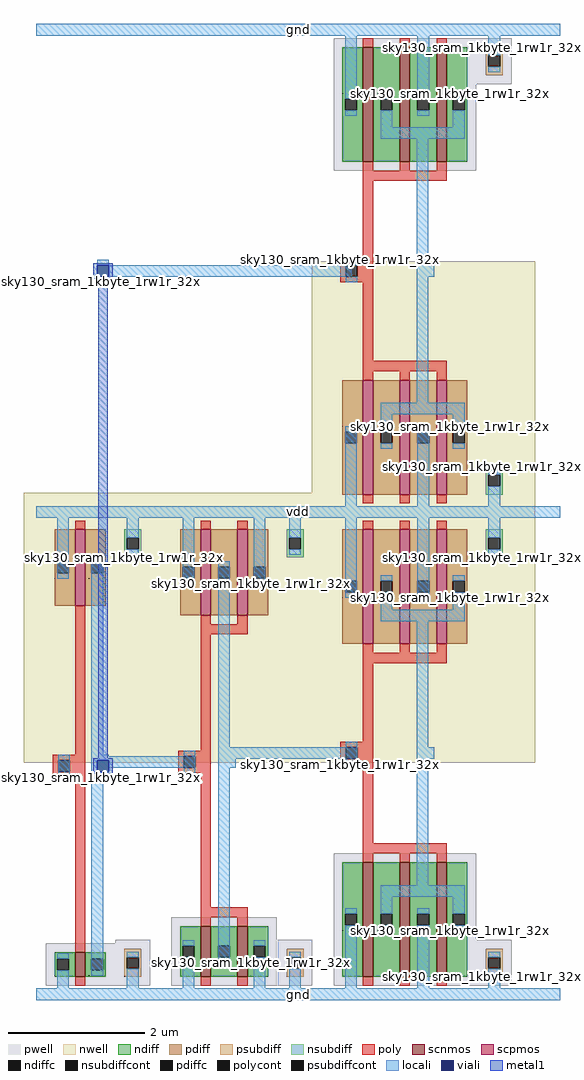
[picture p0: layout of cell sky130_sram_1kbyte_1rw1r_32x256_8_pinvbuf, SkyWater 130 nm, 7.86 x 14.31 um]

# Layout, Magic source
magic
tech sky130A
magscale 1 2
<< locali >>
rect 0 2828 1536 2862
rect 179 2155 213 2171
rect 213 2121 925 2155
rect 1133 2121 1167 2155
rect 179 2105 213 2121
rect 0 1414 1536 1448
rect 179 715 213 719
rect 179 703 466 715
rect 64 669 98 703
rect 213 681 466 703
rect 551 707 942 741
rect 1133 707 1167 741
rect 551 698 585 707
rect 179 653 213 669
rect 0 0 1536 34
<< viali >>
rect 179 2121 213 2155
rect 179 669 213 703
<< metal1 >>
rect 167 2155 225 2161
rect 167 2121 179 2155
rect 213 2121 225 2155
rect 167 2115 225 2121
rect 182 709 210 2115
rect 167 703 225 709
rect 167 669 179 703
rect 213 669 225 703
rect 167 663 225 669
use sky130_sram_1kbyte_1rw1r_32x256_8_contact_14  sky130_sram_1kbyte_1rw1r_32x256_8_contact_14_0
transform 1 0 167 0 1 653
box 0 0 1 1
use sky130_sram_1kbyte_1rw1r_32x256_8_contact_14  sky130_sram_1kbyte_1rw1r_32x256_8_contact_14_1
transform 1 0 167 0 1 2105
box 0 0 1 1
use sky130_sram_1kbyte_1rw1r_32x256_8_pinv_2  sky130_sram_1kbyte_1rw1r_32x256_8_pinv_2_0
transform 1 0 844 0 -1 2845
box -36 -17 620 1471
use sky130_sram_1kbyte_1rw1r_32x256_8_pinv_2  sky130_sram_1kbyte_1rw1r_32x256_8_pinv_2_1
transform 1 0 844 0 1 17
box -36 -17 620 1471
use sky130_sram_1kbyte_1rw1r_32x256_8_pinv_1  sky130_sram_1kbyte_1rw1r_32x256_8_pinv_1_0
transform 1 0 368 0 1 17
box -36 -17 512 1471
use sky130_sram_1kbyte_1rw1r_32x256_8_pinv_0  sky130_sram_1kbyte_1rw1r_32x256_8_pinv_0_0
transform 1 0 0 0 1 17
box -36 -17 404 1471
<< labels >>
rlabel locali s 768 1431 768 1431 4 vdd
port 1 nsew
rlabel locali s 768 17 768 17 4 gnd
port 2 nsew
rlabel locali s 768 2845 768 2845 4 gnd
port 2 nsew
rlabel locali s 1150 2138 1150 2138 4 Z
port 3 nsew
rlabel locali s 1150 724 1150 724 4 Zb
port 4 nsew
rlabel locali s 81 686 81 686 4 A
port 5 nsew
<< properties >>
string FIXED_BBOX 0 0 1536 2845
string GDS_FILE $PDKPATH/libs.ref/sky130_sram_macros/gds/sky130_sram_1kbyte_1rw1r_32x256_8.gds
string GDS_END 6281032
string GDS_START 6279050
<< end >>

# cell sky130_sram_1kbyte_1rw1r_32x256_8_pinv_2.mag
magic
tech sky130A
magscale 1 2
<< nwell >>
rect -36 679 620 1471
<< pwell >>
rect 448 25 550 159
<< psubdiff >>
rect 474 109 524 133
rect 474 75 482 109
rect 516 75 524 109
rect 474 51 524 75
<< nsubdiff >>
rect 474 1339 524 1363
rect 474 1305 482 1339
rect 516 1305 524 1339
rect 474 1281 524 1305
<< psubdiffcont >>
rect 482 75 516 109
<< nsubdiffcont >>
rect 482 1305 516 1339
<< poly >>
rect 114 740 144 971
rect 48 724 144 740
rect 48 690 64 724
rect 98 690 144 724
rect 48 674 144 690
rect 114 443 144 674
<< polycont >>
rect 64 690 98 724
<< locali >>
rect 0 1397 584 1431
rect 62 1162 96 1397
rect 274 1162 308 1397
rect 482 1339 516 1397
rect 482 1289 516 1305
rect 64 724 98 740
rect 64 674 98 690
rect 272 724 306 1128
rect 272 690 323 724
rect 272 286 306 690
rect 62 17 96 186
rect 274 17 308 186
rect 482 109 516 125
rect 482 17 516 75
rect 0 -17 584 17
use sky130_sram_1kbyte_1rw1r_32x256_8_contact_16  sky130_sram_1kbyte_1rw1r_32x256_8_contact_16_0
transform 1 0 48 0 1 674
box 0 0 1 1
use sky130_sram_1kbyte_1rw1r_32x256_8_contact_29  sky130_sram_1kbyte_1rw1r_32x256_8_contact_29_0
transform 1 0 474 0 1 51
box 0 0 1 1
use sky130_sram_1kbyte_1rw1r_32x256_8_contact_28  sky130_sram_1kbyte_1rw1r_32x256_8_contact_28_0
transform 1 0 474 0 1 1281
box 0 0 1 1
use sky130_sram_1kbyte_1rw1r_32x256_8_nmos_m3_w1_680_sli_dli_da_p  sky130_sram_1kbyte_1rw1r_32x256_8_nmos_m3_w1_680_sli_dli_da_p_0
transform 1 0 54 0 1 51
box -26 -26 392 392
use sky130_sram_1kbyte_1rw1r_32x256_8_pmos_m3_w1_680_sli_dli_da_p  sky130_sram_1kbyte_1rw1r_32x256_8_pmos_m3_w1_680_sli_dli_da_p_0
transform 1 0 54 0 1 1027
box -59 -56 425 390
<< labels >>
rlabel locali s 81 707 81 707 4 A
port 1 nsew
rlabel locali s 306 707 306 707 4 Z
port 2 nsew
rlabel locali s 292 0 292 0 4 gnd
port 3 nsew
rlabel locali s 292 1414 292 1414 4 vdd
port 4 nsew
<< properties >>
string FIXED_BBOX 0 0 584 1414
string GDS_FILE $PDKPATH/libs.ref/sky130_sram_macros/gds/sky130_sram_1kbyte_1rw1r_32x256_8.gds
string GDS_END 182216
string GDS_START 180218
<< end >>

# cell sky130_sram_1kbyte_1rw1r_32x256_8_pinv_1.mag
magic
tech sky130A
magscale 1 2
<< nwell >>
rect -36 679 512 1471
<< pwell >>
rect 340 25 442 159
<< psubdiff >>
rect 366 109 416 133
rect 366 75 374 109
rect 408 75 416 109
rect 366 51 416 75
<< nsubdiff >>
rect 366 1339 416 1363
rect 366 1305 374 1339
rect 408 1305 416 1339
rect 366 1281 416 1305
<< psubdiffcont >>
rect 374 75 408 109
<< nsubdiffcont >>
rect 374 1305 408 1339
<< poly >>
rect 114 714 144 1055
rect 48 698 144 714
rect 48 664 64 698
rect 98 664 144 698
rect 48 648 144 664
rect 114 255 144 648
<< polycont >>
rect 64 664 98 698
<< locali >>
rect 0 1397 476 1431
rect 62 1204 96 1397
rect 64 698 98 714
rect 64 648 98 664
rect 166 698 200 1270
rect 270 1204 304 1397
rect 374 1339 408 1397
rect 374 1289 408 1305
rect 166 664 217 698
rect 166 92 200 664
rect 374 109 408 125
rect 62 17 96 92
rect 270 17 304 92
rect 374 17 408 75
rect 0 -17 476 17
use sky130_sram_1kbyte_1rw1r_32x256_8_contact_16  sky130_sram_1kbyte_1rw1r_32x256_8_contact_16_0
transform 1 0 48 0 1 648
box 0 0 1 1
use sky130_sram_1kbyte_1rw1r_32x256_8_contact_29  sky130_sram_1kbyte_1rw1r_32x256_8_contact_29_0
transform 1 0 366 0 1 51
box 0 0 1 1
use sky130_sram_1kbyte_1rw1r_32x256_8_contact_28  sky130_sram_1kbyte_1rw1r_32x256_8_contact_28_0
transform 1 0 366 0 1 1281
box 0 0 1 1
use sky130_sram_1kbyte_1rw1r_32x256_8_nmos_m2_w0_740_sli_dli_da_p  sky130_sram_1kbyte_1rw1r_32x256_8_nmos_m2_w0_740_sli_dli_da_p_0
transform 1 0 54 0 1 51
box -26 -26 284 204
use sky130_sram_1kbyte_1rw1r_32x256_8_pmos_m2_w1_260_sli_dli_da_p  sky130_sram_1kbyte_1rw1r_32x256_8_pmos_m2_w1_260_sli_dli_da_p_0
transform 1 0 54 0 1 1111
box -59 -56 317 306
<< labels >>
rlabel locali s 81 681 81 681 4 A
port 1 nsew
rlabel locali s 200 681 200 681 4 Z
port 2 nsew
rlabel locali s 238 0 238 0 4 gnd
port 3 nsew
rlabel locali s 238 1414 238 1414 4 vdd
port 4 nsew
<< properties >>
string FIXED_BBOX 0 0 476 1414
string GDS_FILE $PDKPATH/libs.ref/sky130_sram_macros/gds/sky130_sram_1kbyte_1rw1r_32x256_8.gds
string GDS_END 184286
string GDS_START 182288
<< end >>

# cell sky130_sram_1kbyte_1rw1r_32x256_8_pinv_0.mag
magic
tech sky130A
magscale 1 2
<< nwell >>
rect -36 679 404 1471
<< pwell >>
rect 232 25 334 159
<< psubdiff >>
rect 258 109 308 133
rect 258 75 266 109
rect 300 75 308 109
rect 258 51 308 75
<< nsubdiff >>
rect 258 1339 308 1363
rect 258 1305 266 1339
rect 300 1305 308 1339
rect 258 1281 308 1305
<< psubdiffcont >>
rect 266 75 300 109
<< nsubdiffcont >>
rect 266 1305 300 1339
<< poly >>
rect 114 702 144 1113
rect 48 686 144 702
rect 48 652 64 686
rect 98 652 144 686
rect 48 636 144 652
rect 114 149 144 636
<< polycont >>
rect 64 652 98 686
<< locali >>
rect 0 1397 368 1431
rect 62 1218 96 1397
rect 266 1339 300 1397
rect 266 1289 300 1305
rect 64 686 98 702
rect 64 636 98 652
rect 162 686 196 1284
rect 162 652 213 686
rect 162 54 196 652
rect 266 109 300 125
rect 62 17 96 54
rect 266 17 300 75
rect 0 -17 368 17
use sky130_sram_1kbyte_1rw1r_32x256_8_contact_16  sky130_sram_1kbyte_1rw1r_32x256_8_contact_16_0
transform 1 0 48 0 1 636
box 0 0 1 1
use sky130_sram_1kbyte_1rw1r_32x256_8_contact_29  sky130_sram_1kbyte_1rw1r_32x256_8_contact_29_0
transform 1 0 258 0 1 51
box 0 0 1 1
use sky130_sram_1kbyte_1rw1r_32x256_8_contact_28  sky130_sram_1kbyte_1rw1r_32x256_8_contact_28_0
transform 1 0 258 0 1 1281
box 0 0 1 1
use sky130_sram_1kbyte_1rw1r_32x256_8_nmos_m1_w0_360_sli_dli_da_p  sky130_sram_1kbyte_1rw1r_32x256_8_nmos_m1_w0_360_sli_dli_da_p_0
transform 1 0 54 0 1 51
box -26 -26 176 98
use sky130_sram_1kbyte_1rw1r_32x256_8_pmos_m1_w1_120_sli_dli_da_p  sky130_sram_1kbyte_1rw1r_32x256_8_pmos_m1_w1_120_sli_dli_da_p_0
transform 1 0 54 0 1 1139
box -59 -54 209 278
<< labels >>
rlabel locali s 81 669 81 669 4 A
port 1 nsew
rlabel locali s 196 669 196 669 4 Z
port 2 nsew
rlabel locali s 184 0 184 0 4 gnd
port 3 nsew
rlabel locali s 184 1414 184 1414 4 vdd
port 4 nsew
<< properties >>
string FIXED_BBOX 0 0 368 1414
string GDS_FILE $PDKPATH/libs.ref/sky130_sram_macros/gds/sky130_sram_1kbyte_1rw1r_32x256_8.gds
string GDS_END 393578
string GDS_START 391708
<< end >>

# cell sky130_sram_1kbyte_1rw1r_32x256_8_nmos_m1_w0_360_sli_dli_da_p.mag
magic
tech sky130A
magscale 1 2
<< pwell >>
rect -26 -26 176 98
<< scnmos >>
rect 60 0 90 72
<< ndiff >>
rect 0 53 60 72
rect 0 19 8 53
rect 42 19 60 53
rect 0 0 60 19
rect 90 53 150 72
rect 90 19 108 53
rect 142 19 150 53
rect 90 0 150 19
<< ndiffc >>
rect 8 19 42 53
rect 108 19 142 53
<< poly >>
rect 60 72 90 98
rect 60 -26 90 0
<< locali >>
rect 8 53 42 69
rect 8 3 42 19
rect 108 53 142 69
rect 108 3 142 19
use sky130_sram_1kbyte_1rw1r_32x256_8_contact_11  sky130_sram_1kbyte_1rw1r_32x256_8_contact_11_0
transform 1 0 100 0 1 3
box 0 0 1 1
use sky130_sram_1kbyte_1rw1r_32x256_8_contact_11  sky130_sram_1kbyte_1rw1r_32x256_8_contact_11_1
transform 1 0 0 0 1 3
box 0 0 1 1
<< labels >>
rlabel locali s 25 36 25 36 4 S
port 1 nsew
rlabel locali s 125 36 125 36 4 D
port 2 nsew
rlabel poly s 75 36 75 36 4 G
port 3 nsew
<< properties >>
string FIXED_BBOX -25 -26 175 98
string GDS_FILE $PDKPATH/libs.ref/sky130_sram_macros/gds/sky130_sram_1kbyte_1rw1r_32x256_8.gds
string GDS_END 1950
string GDS_START 1154
<< end >>

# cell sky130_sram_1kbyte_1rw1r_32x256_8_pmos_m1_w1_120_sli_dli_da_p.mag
magic
tech sky130A
magscale 1 2
<< nwell >>
rect -54 196 204 278
rect -59 28 209 196
rect -54 -54 204 28
<< scpmos >>
rect 60 0 90 224
<< pdiff >>
rect 0 129 60 224
rect 0 95 8 129
rect 42 95 60 129
rect 0 0 60 95
rect 90 129 150 224
rect 90 95 108 129
rect 142 95 150 129
rect 90 0 150 95
<< pdiffc >>
rect 8 95 42 129
rect 108 95 142 129
<< poly >>
rect 60 224 90 250
rect 60 -26 90 0
<< locali >>
rect 8 129 42 145
rect 8 79 42 95
rect 108 129 142 145
rect 108 79 142 95
use sky130_sram_1kbyte_1rw1r_32x256_8_contact_12  sky130_sram_1kbyte_1rw1r_32x256_8_contact_12_0
transform 1 0 100 0 1 79
box 0 0 1 1
use sky130_sram_1kbyte_1rw1r_32x256_8_contact_12  sky130_sram_1kbyte_1rw1r_32x256_8_contact_12_1
transform 1 0 0 0 1 79
box 0 0 1 1
<< labels >>
rlabel locali s 25 112 25 112 4 S
port 1 nsew
rlabel locali s 125 112 125 112 4 D
port 2 nsew
rlabel poly s 75 112 75 112 4 G
port 3 nsew
<< properties >>
string FIXED_BBOX -54 -54 204 28
string GDS_FILE $PDKPATH/libs.ref/sky130_sram_macros/gds/sky130_sram_1kbyte_1rw1r_32x256_8.gds
string GDS_END 2904
string GDS_START 2044
<< end >>

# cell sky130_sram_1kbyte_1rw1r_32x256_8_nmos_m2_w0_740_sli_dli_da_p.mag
magic
tech sky130A
magscale 1 2
<< pwell >>
rect -26 -26 284 174
<< scnmos >>
rect 60 0 90 148
rect 168 0 198 148
<< ndiff >>
rect 0 91 60 148
rect 0 57 8 91
rect 42 57 60 91
rect 0 0 60 57
rect 90 91 168 148
rect 90 57 112 91
rect 146 57 168 91
rect 90 0 168 57
rect 198 91 258 148
rect 198 57 216 91
rect 250 57 258 91
rect 198 0 258 57
<< ndiffc >>
rect 8 57 42 91
rect 112 57 146 91
rect 216 57 250 91
<< poly >>
rect 60 174 198 204
rect 60 148 90 174
rect 168 148 198 174
rect 60 -26 90 0
rect 168 -26 198 0
<< locali >>
rect 8 91 42 107
rect 8 41 42 57
rect 112 91 146 107
rect 112 41 146 57
rect 216 91 250 107
rect 216 41 250 57
use sky130_sram_1kbyte_1rw1r_32x256_8_contact_11  sky130_sram_1kbyte_1rw1r_32x256_8_contact_11_0
transform 1 0 208 0 1 41
box 0 0 1 1
use sky130_sram_1kbyte_1rw1r_32x256_8_contact_11  sky130_sram_1kbyte_1rw1r_32x256_8_contact_11_1
transform 1 0 104 0 1 41
box 0 0 1 1
use sky130_sram_1kbyte_1rw1r_32x256_8_contact_11  sky130_sram_1kbyte_1rw1r_32x256_8_contact_11_2
transform 1 0 0 0 1 41
box 0 0 1 1
<< labels >>
rlabel locali s 233 74 233 74 4 S
port 1 nsew
rlabel locali s 25 74 25 74 4 S
port 1 nsew
rlabel locali s 129 74 129 74 4 D
port 2 nsew
rlabel poly s 129 189 129 189 4 G
port 3 nsew
<< properties >>
string FIXED_BBOX -25 -26 283 204
string GDS_FILE $PDKPATH/libs.ref/sky130_sram_macros/gds/sky130_sram_1kbyte_1rw1r_32x256_8.gds
string GDS_END 5496
string GDS_START 4454
<< end >>

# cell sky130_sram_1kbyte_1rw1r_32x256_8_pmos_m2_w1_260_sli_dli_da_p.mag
magic
tech sky130A
magscale 1 2
<< nwell >>
rect -54 210 312 306
rect -59 42 317 210
rect -54 -54 312 42
<< scpmos >>
rect 60 0 90 252
rect 168 0 198 252
<< pdiff >>
rect 0 143 60 252
rect 0 109 8 143
rect 42 109 60 143
rect 0 0 60 109
rect 90 143 168 252
rect 90 109 112 143
rect 146 109 168 143
rect 90 0 168 109
rect 198 143 258 252
rect 198 109 216 143
rect 250 109 258 143
rect 198 0 258 109
<< pdiffc >>
rect 8 109 42 143
rect 112 109 146 143
rect 216 109 250 143
<< poly >>
rect 60 252 90 278
rect 168 252 198 278
rect 60 -26 90 0
rect 168 -26 198 0
rect 60 -56 198 -26
<< locali >>
rect 8 143 42 159
rect 8 93 42 109
rect 112 143 146 159
rect 112 93 146 109
rect 216 143 250 159
rect 216 93 250 109
use sky130_sram_1kbyte_1rw1r_32x256_8_contact_12  sky130_sram_1kbyte_1rw1r_32x256_8_contact_12_0
transform 1 0 208 0 1 93
box 0 0 1 1
use sky130_sram_1kbyte_1rw1r_32x256_8_contact_12  sky130_sram_1kbyte_1rw1r_32x256_8_contact_12_1
transform 1 0 104 0 1 93
box 0 0 1 1
use sky130_sram_1kbyte_1rw1r_32x256_8_contact_12  sky130_sram_1kbyte_1rw1r_32x256_8_contact_12_2
transform 1 0 0 0 1 93
box 0 0 1 1
<< labels >>
rlabel locali s 233 126 233 126 4 S
port 1 nsew
rlabel locali s 25 126 25 126 4 S
port 1 nsew
rlabel locali s 129 126 129 126 4 D
port 2 nsew
rlabel poly s 129 -41 129 -41 4 G
port 3 nsew
<< properties >>
string FIXED_BBOX -54 -56 312 42
string GDS_FILE $PDKPATH/libs.ref/sky130_sram_macros/gds/sky130_sram_1kbyte_1rw1r_32x256_8.gds
string GDS_END 6696
string GDS_START 5590
<< end >>

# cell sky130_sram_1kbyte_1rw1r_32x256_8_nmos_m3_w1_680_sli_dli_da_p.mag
magic
tech sky130A
magscale 1 2
<< pwell >>
rect -26 -26 392 362
<< scnmos >>
rect 60 0 90 336
rect 168 0 198 336
rect 276 0 306 336
<< ndiff >>
rect 0 185 60 336
rect 0 151 8 185
rect 42 151 60 185
rect 0 0 60 151
rect 90 185 168 336
rect 90 151 112 185
rect 146 151 168 185
rect 90 0 168 151
rect 198 185 276 336
rect 198 151 220 185
rect 254 151 276 185
rect 198 0 276 151
rect 306 185 366 336
rect 306 151 324 185
rect 358 151 366 185
rect 306 0 366 151
<< ndiffc >>
rect 8 151 42 185
rect 112 151 146 185
rect 220 151 254 185
rect 324 151 358 185
<< poly >>
rect 60 362 306 392
rect 60 336 90 362
rect 168 336 198 362
rect 276 336 306 362
rect 60 -26 90 0
rect 168 -26 198 0
rect 276 -26 306 0
<< locali >>
rect 112 235 358 269
rect 8 185 42 201
rect 8 135 42 151
rect 112 185 146 235
rect 112 135 146 151
rect 220 185 254 201
rect 220 135 254 151
rect 324 185 358 235
rect 324 135 358 151
use sky130_sram_1kbyte_1rw1r_32x256_8_contact_11  sky130_sram_1kbyte_1rw1r_32x256_8_contact_11_0
transform 1 0 316 0 1 135
box 0 0 1 1
use sky130_sram_1kbyte_1rw1r_32x256_8_contact_11  sky130_sram_1kbyte_1rw1r_32x256_8_contact_11_1
transform 1 0 212 0 1 135
box 0 0 1 1
use sky130_sram_1kbyte_1rw1r_32x256_8_contact_11  sky130_sram_1kbyte_1rw1r_32x256_8_contact_11_2
transform 1 0 104 0 1 135
box 0 0 1 1
use sky130_sram_1kbyte_1rw1r_32x256_8_contact_11  sky130_sram_1kbyte_1rw1r_32x256_8_contact_11_3
transform 1 0 0 0 1 135
box 0 0 1 1
<< labels >>
rlabel locali s 237 168 237 168 4 S
port 1 nsew
rlabel locali s 25 168 25 168 4 S
port 1 nsew
rlabel locali s 235 252 235 252 4 D
port 2 nsew
rlabel poly s 183 377 183 377 4 G
port 3 nsew
<< properties >>
string FIXED_BBOX -25 -26 391 392
string GDS_FILE $PDKPATH/libs.ref/sky130_sram_macros/gds/sky130_sram_1kbyte_1rw1r_32x256_8.gds
string GDS_END 53250
string GDS_START 51942
<< end >>

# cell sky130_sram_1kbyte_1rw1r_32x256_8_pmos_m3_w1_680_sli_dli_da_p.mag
magic
tech sky130A
magscale 1 2
<< nwell >>
rect -54 252 420 390
rect -59 84 425 252
rect -54 -54 420 84
<< scpmos >>
rect 60 0 90 336
rect 168 0 198 336
rect 276 0 306 336
<< pdiff >>
rect 0 185 60 336
rect 0 151 8 185
rect 42 151 60 185
rect 0 0 60 151
rect 90 185 168 336
rect 90 151 112 185
rect 146 151 168 185
rect 90 0 168 151
rect 198 185 276 336
rect 198 151 220 185
rect 254 151 276 185
rect 198 0 276 151
rect 306 185 366 336
rect 306 151 324 185
rect 358 151 366 185
rect 306 0 366 151
<< pdiffc >>
rect 8 151 42 185
rect 112 151 146 185
rect 220 151 254 185
rect 324 151 358 185
<< poly >>
rect 60 336 90 362
rect 168 336 198 362
rect 276 336 306 362
rect 60 -26 90 0
rect 168 -26 198 0
rect 276 -26 306 0
rect 60 -56 306 -26
<< locali >>
rect 8 185 42 201
rect 8 135 42 151
rect 112 185 146 201
rect 112 101 146 151
rect 220 185 254 201
rect 220 135 254 151
rect 324 185 358 201
rect 324 101 358 151
rect 112 67 358 101
use sky130_sram_1kbyte_1rw1r_32x256_8_contact_12  sky130_sram_1kbyte_1rw1r_32x256_8_contact_12_0
transform 1 0 316 0 1 135
box 0 0 1 1
use sky130_sram_1kbyte_1rw1r_32x256_8_contact_12  sky130_sram_1kbyte_1rw1r_32x256_8_contact_12_1
transform 1 0 212 0 1 135
box 0 0 1 1
use sky130_sram_1kbyte_1rw1r_32x256_8_contact_12  sky130_sram_1kbyte_1rw1r_32x256_8_contact_12_2
transform 1 0 104 0 1 135
box 0 0 1 1
use sky130_sram_1kbyte_1rw1r_32x256_8_contact_12  sky130_sram_1kbyte_1rw1r_32x256_8_contact_12_3
transform 1 0 0 0 1 135
box 0 0 1 1
<< labels >>
rlabel locali s 237 168 237 168 4 S
port 1 nsew
rlabel locali s 25 168 25 168 4 S
port 1 nsew
rlabel locali s 235 84 235 84 4 D
port 2 nsew
rlabel poly s 183 -41 183 -41 4 G
port 3 nsew
<< properties >>
string FIXED_BBOX -54 -56 420 84
string GDS_FILE $PDKPATH/libs.ref/sky130_sram_macros/gds/sky130_sram_1kbyte_1rw1r_32x256_8.gds
string GDS_END 54716
string GDS_START 53344
<< end >>
